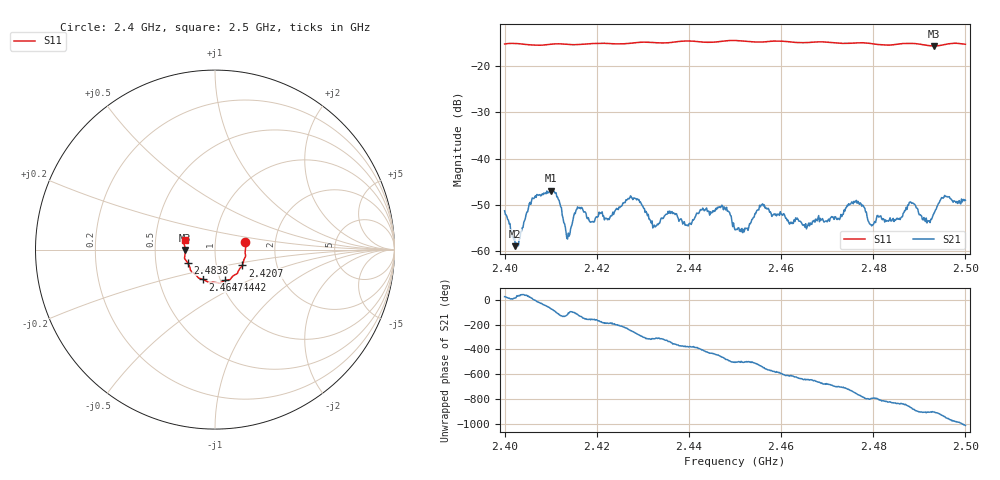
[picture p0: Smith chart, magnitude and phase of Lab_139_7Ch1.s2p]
# Hz S RI R 50
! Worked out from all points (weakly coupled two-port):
!   601 points, 2.4 GHz to 2.5 GHz, reference 50 ohm
!   highest |S21| = -46.95 dB at 2.41 GHz (marker M1); lowest = -58.9 dB at 2.4023 GHz (marker M2)
!   lowest |S11| = -15.6 dB at 2.4932 GHz (marker M3), VSWR 1.40, Z = 35.8 - j0.144 ohm
!   |S11| at or under -10 dB: start of sweep to end of sweep
!   S12 and S22 are empty: the file has one direction only
!   S11 on the Smith chart (normalised r, x): 2.4 GHz: 1.40, +0.12; 2.4207 GHz: 1.33, -0.24; 2.4442 GHz: 1.05, -0.37; 2.4647 GHz: 0.83, -0.29; 2.4838 GHz: 0.73, -0.11; 2.5 GHz: 0.71, +0.08
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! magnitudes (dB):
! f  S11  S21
! 2.4 GHz  -15.2  -51.3
! 2.4023 GHz  -15.1  -58.9
! 2.4058 GHz  -15.4  -49.2
! 2.41 GHz  -15.3  -46.9
! 2.4137 GHz  -15.3  -57.4
! 2.4167 GHz  -15.3  -50.5
! 2.4207 GHz  -15.1  -51.9
! 2.4278 GHz  -15.0  -48.9
! 2.4333 GHz  -15.0  -54.3
! 2.4442 GHz  -14.9  -51.3
! 2.4477 GHz  -14.6  -50.4
! 2.45 GHz  -14.5  -55.4
! 2.4558 GHz  -14.8  -50.0
! 2.4647 GHz  -14.9  -54.4
! 2.4667 GHz  -14.8  -54.2
! 2.4763 GHz  -15.0  -49.0
! 2.4795 GHz  -15.1  -54.3
! 2.4833 GHz  -15.5  -53.5
! 2.4838 GHz  -15.4  -53.5
! 2.4883 GHz  -15.1  -49.7
! 2.4932 GHz  -15.6  -51.8
! 2.5 GHz  -15.3  -49.0
